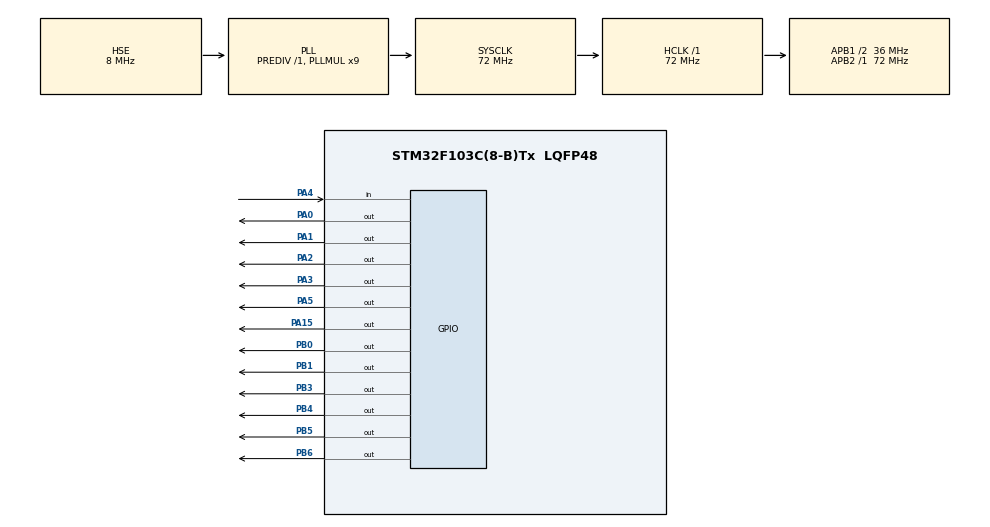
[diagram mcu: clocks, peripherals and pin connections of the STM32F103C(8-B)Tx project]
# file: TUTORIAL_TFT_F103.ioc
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Mcu.Family=STM32F1
Mcu.Name=STM32F103C(8-B)Tx
Mcu.Package=LQFP48
NVIC.PriorityGroup=NVIC_PRIORITYGROUP_4
PA0-WKUP.Signal=GPIO_Output
PA1.Signal=GPIO_Output
PA13.Mode=Serial_Wire
PA13.Signal=SYS_JTMS-SWDIO
PA14.Mode=Serial_Wire
PA14.Signal=SYS_JTCK-SWCLK
PA15.Signal=GPIO_Output
PA2.Signal=GPIO_Output
PA3.Signal=GPIO_Output
PA4.Signal=GPIO_Input
PA5.Signal=GPIO_Output
PB0.Signal=GPIO_Output
PB1.Signal=GPIO_Output
PB3.Signal=GPIO_Output
PB4.Signal=GPIO_Output
PB5.Signal=GPIO_Output
PB6.Signal=GPIO_Output
PD0-OSC_IN.Mode=HSE-External-Oscillator
PD0-OSC_IN.Signal=RCC_OSC_IN
PD1-OSC_OUT.Mode=HSE-External-Oscillator
PD1-OSC_OUT.Signal=RCC_OSC_OUT
ProjectManager.HeapSize=0x200
ProjectManager.StackSize=0x400
ProjectManager.TargetToolchain=STM32CubeIDE
RCC.AHBFreq_Value=72000000
RCC.APB1CLKDivider=RCC_HCLK_DIV2
RCC.APB1Freq_Value=36000000
RCC.APB1TimFreq_Value=72000000
RCC.APB2Freq_Value=72000000
RCC.APB2TimFreq_Value=72000000
RCC.HCLKFreq_Value=72000000
RCC.PLLMUL=RCC_PLL_MUL9
RCC.PLLSourceVirtual=RCC_PLLSOURCE_HSE
RCC.SYSCLKFreq_VALUE=72000000
RCC.SYSCLKSource=RCC_SYSCLKSOURCE_PLLCLK
RCC.USBFreq_Value=72000000
TIM1.Period=0xffff-1
TIM1.Prescaler=72-1
VP_TIM1_VS_ClockSourceINT.Mode=Internal
board=custom

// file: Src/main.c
/* USER CODE BEGIN Header */
/**
  ******************************************************************************
  * @file           : main.c
  * @brief          : Main program body
  ******************************************************************************
  * @attention
  *
  * <h2><center>&copy; Copyright (c) 2019 STMicroelectronics.
  * All rights reserved.</center></h2>
  *
  * This software component is licensed by ST under BSD 3-Clause license,
  * the "License"; You may not use this file except in compliance with the
  * License. You may obtain a copy of the License at:
  *                        opensource.org/licenses/BSD-3-Clause
  *
  ******************************************************************************
  */
/* USER CODE END Header */

#include "main.h"

/* USER CODE BEGIN Includes */

#include "fonts.h"
#include "tft.h"
#include "functions.h"
#include "dwt_stm32_delay.h"

/* USER CODE END Includes */

TIM_HandleTypeDef htim1;

void SystemClock_Config(void);
static void MX_GPIO_Init(void);
static void MX_TIM1_Init(void);

/* USER CODE BEGIN 0 */

uint16_t ID=0;

/* USER CODE END 0 */

int main(void)
{

  /* MCU Configuration--------------------------------------------------------*/

  /* Reset of all peripherals, Initializes the Flash interface and the Systick. */
  HAL_Init();

  /* Configure the system clock */
  SystemClock_Config();

  /* USER CODE BEGIN SysInit */
  DWT_Delay_Init();
  /* USER CODE END SysInit */

  /* Initialize all configured peripherals */
  MX_GPIO_Init();
  MX_TIM1_Init();
  /* USER CODE BEGIN 2 */

  HAL_TIM_Base_Start(&htim1);

  ID = readID();

  HAL_Delay(100);

  tft_init(ID);
  HAL_Delay(200);

  //invertDisplay(1);

  /* USER CODE END 2 */

  /* Infinite loop */
  /* USER CODE BEGIN WHILE */
  while (1)
  {
	  setRotation(0);
	  //HAL_Delay(1000);

	  fillScreen(BLUE);
	  //HAL_Delay(1000);

	  testFillScreen();
	  testLines(CYAN);
	  testFastLines(RED, BLUE);
	  testFilledCircles(10, MAGENTA);
	  testCircles(10, WHITE);

	  fillScreen(BLACK);
	  //HAL_Delay(100);

	  setRotation(0);

	  printnewtstr(100, BLUE, &mono12x7bold, 1, "HELLO WORLD");
	  //HAL_Delay(1000);

	  scrollup(500);
	  //HAL_Delay(2000);
    /* USER CODE END WHILE */

  }
}

void SystemClock_Config(void)
{
  RCC_OscInitTypeDef RCC_OscInitStruct = {0};
  RCC_ClkInitTypeDef RCC_ClkInitStruct = {0};

  /** Initializes the CPU, AHB and APB busses clocks
  */
  RCC_OscInitStruct.OscillatorType = RCC_OSCILLATORTYPE_HSE;
  RCC_OscInitStruct.HSEState = RCC_HSE_ON;
  RCC_OscInitStruct.HSEPredivValue = RCC_HSE_PREDIV_DIV1;
  RCC_OscInitStruct.HSIState = RCC_HSI_ON;
  RCC_OscInitStruct.PLL.PLLState = RCC_PLL_ON;
  RCC_OscInitStruct.PLL.PLLSource = RCC_PLLSOURCE_HSE;
  RCC_OscInitStruct.PLL.PLLMUL = RCC_PLL_MUL9;
  if (HAL_RCC_OscConfig(&RCC_OscInitStruct) != HAL_OK)
  {
    Error_Handler();
  }
  /** Initializes the CPU, AHB and APB busses clocks
  */
  RCC_ClkInitStruct.ClockType = RCC_CLOCKTYPE_HCLK|RCC_CLOCKTYPE_SYSCLK
                              |RCC_CLOCKTYPE_PCLK1|RCC_CLOCKTYPE_PCLK2;
  RCC_ClkInitStruct.SYSCLKSource = RCC_SYSCLKSOURCE_PLLCLK;
  RCC_ClkInitStruct.AHBCLKDivider = RCC_SYSCLK_DIV1;
  RCC_ClkInitStruct.APB1CLKDivider = RCC_HCLK_DIV2;
  RCC_ClkInitStruct.APB2CLKDivider = RCC_HCLK_DIV1;

  if (HAL_RCC_ClockConfig(&RCC_ClkInitStruct, FLASH_LATENCY_2) != HAL_OK)
  {
    Error_Handler();
  }
}

static void MX_TIM1_Init(void)
{

  TIM_ClockConfigTypeDef sClockSourceConfig = {0};
  TIM_MasterConfigTypeDef sMasterConfig = {0};

  htim1.Instance = TIM1;
  htim1.Init.Prescaler = 72-1;
  htim1.Init.CounterMode = TIM_COUNTERMODE_UP;
  htim1.Init.Period = 0xffff-1;
  htim1.Init.ClockDivision = TIM_CLOCKDIVISION_DIV1;
  htim1.Init.RepetitionCounter = 0;
  htim1.Init.AutoReloadPreload = TIM_AUTORELOAD_PRELOAD_DISABLE;
  if (HAL_TIM_Base_Init(&htim1) != HAL_OK)
  {
    Error_Handler();
  }
  sClockSourceConfig.ClockSource = TIM_CLOCKSOURCE_INTERNAL;
  if (HAL_TIM_ConfigClockSource(&htim1, &sClockSourceConfig) != HAL_OK)
  {
    Error_Handler();
  }
  sMasterConfig.MasterOutputTrigger = TIM_TRGO_RESET;
  sMasterConfig.MasterSlaveMode = TIM_MASTERSLAVEMODE_DISABLE;
  if (HAL_TIMEx_MasterConfigSynchronization(&htim1, &sMasterConfig) != HAL_OK)
  {
    Error_Handler();
  }

}

static void MX_GPIO_Init(void)
{
  GPIO_InitTypeDef GPIO_InitStruct = {0};

  /* GPIO Ports Clock Enable */
  __HAL_RCC_GPIOD_CLK_ENABLE();
  __HAL_RCC_GPIOA_CLK_ENABLE();
  __HAL_RCC_GPIOB_CLK_ENABLE();

  /*Configure GPIO pin Output Level */
  HAL_GPIO_WritePin(GPIOA, GPIO_PIN_0|GPIO_PIN_1|GPIO_PIN_2|GPIO_PIN_3
                          |GPIO_PIN_5|GPIO_PIN_15, GPIO_PIN_RESET);

  /*Configure GPIO pin Output Level */
  HAL_GPIO_WritePin(GPIOB, GPIO_PIN_0|GPIO_PIN_1|GPIO_PIN_3|GPIO_PIN_4
                          |GPIO_PIN_5|GPIO_PIN_6, GPIO_PIN_RESET);

  /*Configure GPIO pins : PA0 PA1 PA2 PA3
                           PA5 PA15 */
  GPIO_InitStruct.Pin = GPIO_PIN_0|GPIO_PIN_1|GPIO_PIN_2|GPIO_PIN_3
                          |GPIO_PIN_5|GPIO_PIN_15;
  GPIO_InitStruct.Mode = GPIO_MODE_OUTPUT_PP;
  GPIO_InitStruct.Pull = GPIO_NOPULL;
  GPIO_InitStruct.Speed = GPIO_SPEED_FREQ_HIGH;
  HAL_GPIO_Init(GPIOA, &GPIO_InitStruct);

  /*Configure GPIO pin : PA4 */
  GPIO_InitStruct.Pin = GPIO_PIN_4;
  GPIO_InitStruct.Mode = GPIO_MODE_INPUT;
  GPIO_InitStruct.Pull = GPIO_NOPULL;
  HAL_GPIO_Init(GPIOA, &GPIO_InitStruct);

  /*Configure GPIO pins : PB0 PB1 PB3 PB4
                           PB5 PB6 */
  GPIO_InitStruct.Pin = GPIO_PIN_0|GPIO_PIN_1|GPIO_PIN_3|GPIO_PIN_4
                          |GPIO_PIN_5|GPIO_PIN_6;
  GPIO_InitStruct.Mode = GPIO_MODE_OUTPUT_PP;
  GPIO_InitStruct.Pull = GPIO_NOPULL;
  GPIO_InitStruct.Speed = GPIO_SPEED_FREQ_HIGH;
  HAL_GPIO_Init(GPIOB, &GPIO_InitStruct);

}

void Error_Handler(void)
{
}

/************************ (C) COPYRIGHT STMicroelectronics *****END OF FILE****/
